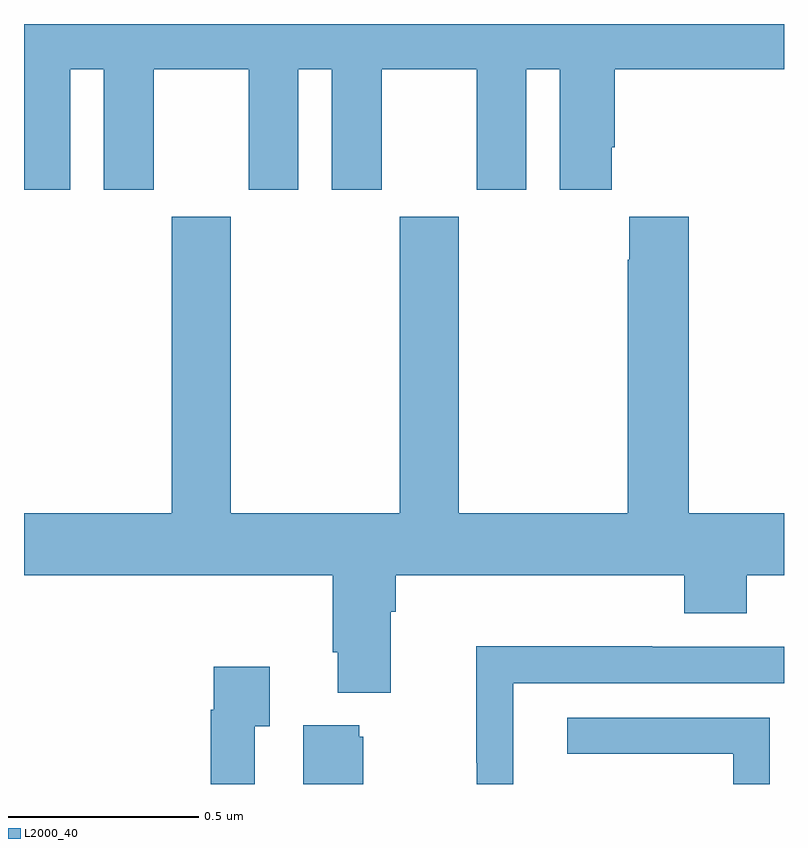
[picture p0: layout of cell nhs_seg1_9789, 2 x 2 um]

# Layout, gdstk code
import gdstk
lib = gdstk.Library(unit=1e-6, precision=1e-09)
def P(c, l, *ps):  # polygons
    for p in ps: c.add(gdstk.Polygon(p, *l))
L2000_40 = (2000, 40)

nhs_seg1_9789 = lib.new_cell('nhs_seg1_9789')
P(nhs_seg1_9789, L2000_40, [(233.591,536.763),(233.722,536.763),(233.722,537.08),(233.81,537.08),(233.81,536.763),(233.941,536.763),(233.941,537.08),(234.191,537.08),(234.191,536.763),(234.322,536.763),(234.322,537.08),(234.41,537.08),(234.41,536.763),(234.547,536.763),(234.547,536.875),(234.554,536.875),(234.554,537.08),(235,537.08),(235,537.199),(233,537.199),(233,536.763),(233.122,536.763),(233.122,537.08),(233.21,537.08),(233.21,536.763),(233.341,536.763),(233.341,537.08),(233.591,537.08)],
  [(233.965,535.652),(233.978,535.652),(233.978,535.748),(234.737,535.748),(234.737,535.649),(234.902,535.649),(234.902,535.748),(235,535.748),(235,535.912),(234.749,535.912),(234.749,536.692),(234.593,536.692),(234.593,536.579),(234.589,536.579),(234.589,535.912),(234.144,535.912),(234.144,536.692),(233.989,536.692),(233.989,535.912),(233.544,535.912),(233.544,536.692),(233.389,536.692),(233.389,535.912),(233,535.912),(233,535.748),(233.813,535.748),(233.813,535.546),(233.825,535.546),(233.825,535.439),(233.965,535.439)],
  [(234.288,535.464),(235,535.464),(235,535.56),(234.653,535.56),(234.653,535.562),(234.19,535.562),(234.19,535.255),(234.192,535.255),(234.192,535.199),(234.288,535.199)],
  [(233.607,535.351),(233.647,535.351),(233.647,535.507),(233.499,535.507),(233.499,535.394),(233.491,535.394),(233.491,535.199),(233.607,535.199)],
  [(234.963,535.374),(234.429,535.374),(234.429,535.278),(234.867,535.278),(234.867,535.199),(234.963,535.199)],
  [(233.893,535.323),(233.882,535.323),(233.882,535.354),(233.735,535.354),(233.735,535.199),(233.893,535.199)])

lib.write_gds('nhs_seg1_9789.gds')
